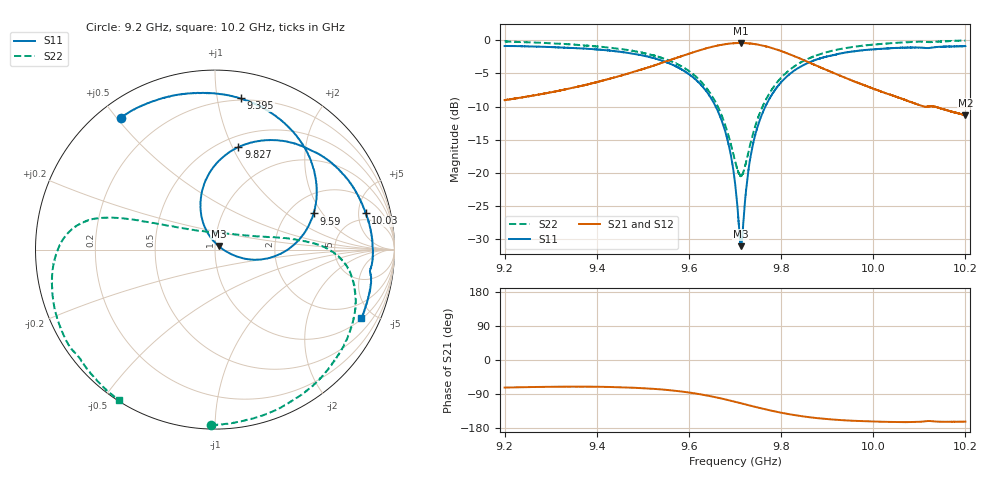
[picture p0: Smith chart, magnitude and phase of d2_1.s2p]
!Agilent Technologies,N5242A,MY51221714,A.09.90.19
!Agilent N5242A: A.09.90.19
!Date: Saturday, March 16, 2024 09:05:47
!Correction: S11(Full 2 Port(1,2))
!S21(Full 2 Port(1,2))
!S12(Full 2 Port(1,2))
!S22(Full 2 Port(1,2))
!S2P File: Measurements: S11, S21, S12, S22:
# Hz S  dB  R 50
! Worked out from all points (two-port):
!   16001 points, 9.2 GHz to 10.2 GHz, reference 50 ohm
!   highest |S21| = -0.42 dB at 9.714 GHz (marker M1); lowest = -11.3 dB at 10.2 GHz (marker M2)
!   |S21| within 3 dB of the highest: 9.541 GHz to 9.863 GHz (321.8 MHz wide, 3.32 % of centre); 9.862965 GHz to 9.863085 GHz (120.4 kHz wide, 0.00122 % of centre)
!   lowest |S11| = -31.0 dB at 9.713 GHz (marker M3), VSWR 1.06, Z = 52 + j2.08 ohm
!   |S11| at or under -10 dB: 9.658 GHz to 9.766 GHz (107.9 MHz wide, 1.11 % of centre)
!   |S22| runs from -20.5 to 0.0 dB; largest |S21 - S12| = 0.012
!   S11 on the Smith chart (normalised r, x): 9.2 GHz: 0.06, +0.51; 9.395 GHz: 0.19, +1.17; 9.59 GHz: 2.70, +1.65; 9.827 GHz: 0.61, +1.06; 10.03 GHz: 3.81, +6.08; 10.2 GHz: 1.06, -4.25
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9.2e9  -0.89 125.7  -9.04 -72.8  -9.03 -73.3  -0.19 -91.2
9.277688e9  -0.99 108.3  -8.15 -71.1  -8.14 -71.6  -0.39 -69.6
9.366688e9  -1.25 87.4  -6.89 -70.4  -6.88 -70.9  -0.76 -45.9
9.39475e9  -1.36 80.3  -6.41 -70.4  -6.40 -71.0  -0.93 -38.6
9.533375e9  -2.90 40.4  -3.61 -77.0  -3.60 -77.5  -2.49 -8.1
9.589812e9  -4.65 20.1  -2.29 -84.2  -2.26 -84.6  -4.20 0.8
9.662438e9  -10.62 -9.7  -0.83 -99.5  -0.81 -100.0  -9.96 12.7
9.684938e9  -15.40 -17.0  -0.55 -105.7  -0.54 -106.2  -14.13 23.7
9.7e9  -21.46 -14.5  -0.46 -110.1  -0.43 -110.7  -18.20 44.7
9.712812e9  -31.04 45.6  -0.44 -114.2  -0.41 -114.6  -20.42 84.8
9.713625e9  -30.85 55.0  -0.42 -114.4  -0.41 -114.9  -20.34 88.7
9.731e9  -18.69 114.1  -0.50 -119.7  -0.48 -120.3  -16.28 135.4
9.7495e9  -12.93 110.6  -0.67 -125.4  -0.66 -125.9  -11.79 150.5
9.781812e9  -8.02 97.0  -1.22 -134.4  -1.21 -135.1  -7.25 158.7
9.827375e9  -4.65 77.1  -2.38 -145.0  -2.37 -145.5  -4.03 163.6
9.866688e9  -3.19 61.7  -3.54 -151.8  -3.53 -152.3  -2.58 168.0
9.948812e9  -1.77 34.8  -5.93 -160.0  -5.95 -160.4  -1.11 -179.2
1.002662e10  -1.27 13.5  -7.97 -163.2  -7.97 -163.6  -0.52 -163.5
1.003338e10  -1.25 11.8  -8.14 -163.3  -8.14 -163.9  -0.47 -162.0
1.010562e10  -1.13 -5.5  -9.91 -162.7  -9.90 -163.2  -0.23 -146.0
1.019988e10  -0.92 -25.1  -11.31 -162.6  -11.28 -163.2  -0.05 -122.5
1.02e10  -0.91 -25.0  -11.30 -162.6  -11.29 -163.2  -0.05 -122.5
